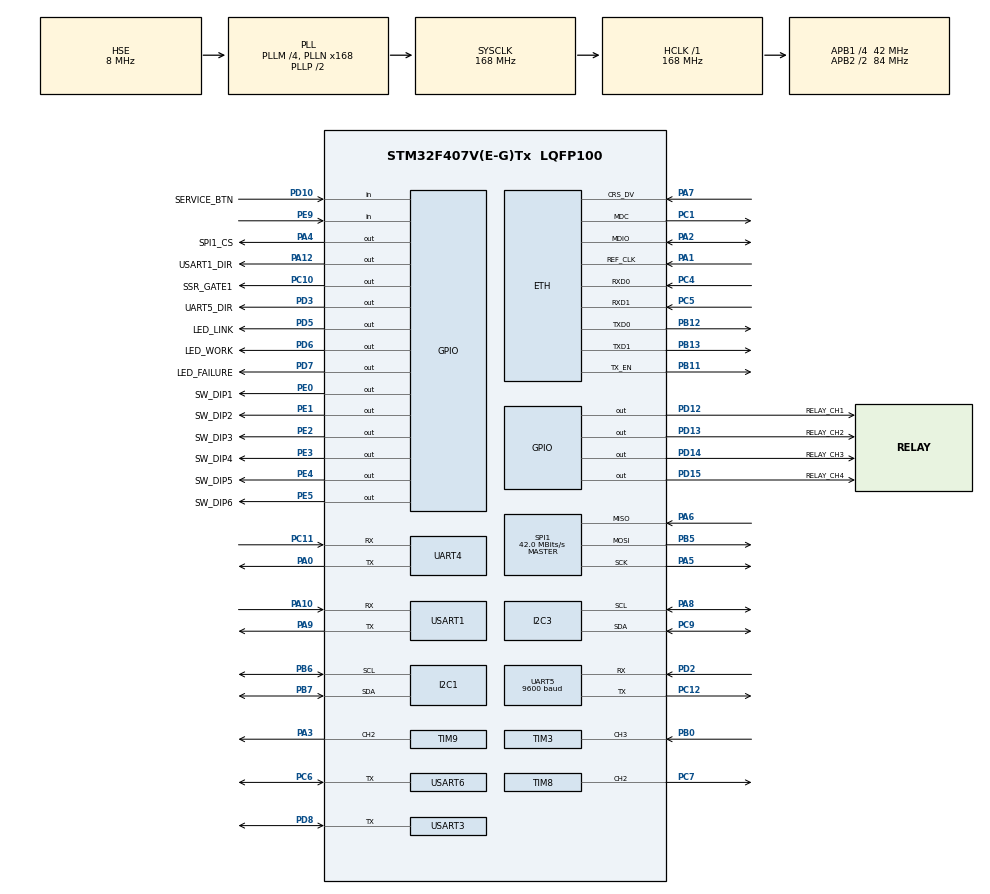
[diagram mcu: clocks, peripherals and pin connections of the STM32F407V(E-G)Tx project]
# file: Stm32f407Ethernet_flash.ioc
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Dma.Request0=UART5_RX
Dma.Request1=UART5_TX
Dma.Request2=USART1_RX
Dma.Request3=USART1_TX
Dma.Request4=SPI1_RX
Dma.Request5=SPI1_TX
Dma.SPI1_RX.4.Direction=DMA_PERIPH_TO_MEMORY
Dma.SPI1_RX.4.FIFOMode=DMA_FIFOMODE_DISABLE
Dma.SPI1_RX.4.Instance=DMA2_Stream0
Dma.SPI1_RX.4.MemDataAlignment=DMA_MDATAALIGN_BYTE
Dma.SPI1_RX.4.MemInc=DMA_MINC_ENABLE
Dma.SPI1_RX.4.Mode=DMA_NORMAL
Dma.SPI1_RX.4.PeriphDataAlignment=DMA_PDATAALIGN_BYTE
Dma.SPI1_RX.4.PeriphInc=DMA_PINC_DISABLE
Dma.SPI1_RX.4.Priority=DMA_PRIORITY_LOW
Dma.SPI1_TX.5.Direction=DMA_MEMORY_TO_PERIPH
Dma.SPI1_TX.5.FIFOMode=DMA_FIFOMODE_DISABLE
Dma.SPI1_TX.5.Instance=DMA2_Stream3
Dma.SPI1_TX.5.MemDataAlignment=DMA_MDATAALIGN_BYTE
Dma.SPI1_TX.5.MemInc=DMA_MINC_ENABLE
Dma.SPI1_TX.5.Mode=DMA_NORMAL
Dma.SPI1_TX.5.PeriphDataAlignment=DMA_PDATAALIGN_BYTE
Dma.SPI1_TX.5.PeriphInc=DMA_PINC_DISABLE
Dma.SPI1_TX.5.Priority=DMA_PRIORITY_LOW
Dma.UART5_RX.0.Direction=DMA_PERIPH_TO_MEMORY
Dma.UART5_RX.0.FIFOMode=DMA_FIFOMODE_DISABLE
Dma.UART5_RX.0.Instance=DMA1_Stream0
Dma.UART5_RX.0.MemDataAlignment=DMA_MDATAALIGN_BYTE
Dma.UART5_RX.0.MemInc=DMA_MINC_ENABLE
Dma.UART5_RX.0.Mode=DMA_NORMAL
Dma.UART5_RX.0.PeriphDataAlignment=DMA_PDATAALIGN_BYTE
Dma.UART5_RX.0.PeriphInc=DMA_PINC_DISABLE
Dma.UART5_RX.0.Priority=DMA_PRIORITY_LOW
Dma.UART5_TX.1.Direction=DMA_MEMORY_TO_PERIPH
Dma.UART5_TX.1.FIFOMode=DMA_FIFOMODE_DISABLE
Dma.UART5_TX.1.Instance=DMA1_Stream7
Dma.UART5_TX.1.MemDataAlignment=DMA_MDATAALIGN_BYTE
Dma.UART5_TX.1.MemInc=DMA_MINC_ENABLE
Dma.UART5_TX.1.Mode=DMA_NORMAL
Dma.UART5_TX.1.PeriphDataAlignment=DMA_PDATAALIGN_BYTE
Dma.UART5_TX.1.PeriphInc=DMA_PINC_DISABLE
Dma.UART5_TX.1.Priority=DMA_PRIORITY_LOW
Dma.USART1_RX.2.Direction=DMA_PERIPH_TO_MEMORY
Dma.USART1_RX.2.FIFOMode=DMA_FIFOMODE_DISABLE
Dma.USART1_RX.2.Instance=DMA2_Stream2
Dma.USART1_RX.2.MemDataAlignment=DMA_MDATAALIGN_BYTE
Dma.USART1_RX.2.MemInc=DMA_MINC_ENABLE
Dma.USART1_RX.2.Mode=DMA_NORMAL
Dma.USART1_RX.2.PeriphDataAlignment=DMA_PDATAALIGN_BYTE
Dma.USART1_RX.2.PeriphInc=DMA_PINC_DISABLE
Dma.USART1_RX.2.Priority=DMA_PRIORITY_LOW
Dma.USART1_TX.3.Direction=DMA_MEMORY_TO_PERIPH
Dma.USART1_TX.3.FIFOMode=DMA_FIFOMODE_DISABLE
Dma.USART1_TX.3.Instance=DMA2_Stream7
Dma.USART1_TX.3.MemDataAlignment=DMA_MDATAALIGN_BYTE
Dma.USART1_TX.3.MemInc=DMA_MINC_ENABLE
Dma.USART1_TX.3.Mode=DMA_NORMAL
Dma.USART1_TX.3.PeriphDataAlignment=DMA_PDATAALIGN_BYTE
Dma.USART1_TX.3.PeriphInc=DMA_PINC_DISABLE
Dma.USART1_TX.3.Priority=DMA_PRIORITY_LOW
ETH.MediaInterface=ETH_MEDIA_INTERFACE_RMII
ETH.PHY_Name_RMII=LAN8742A_PHY_ADDRESS
ETH.PhyAddress=1
FREERTOS.Tasks01=defaultTask,0,1024,StartDefaultTask,Default,NULL,Dynamic,NULL,NULL
FREERTOS.configMINIMAL_STACK_SIZE=1024
FREERTOS.configTOTAL_HEAP_SIZE=65535
FREERTOS.configUSE_TIMERS=1
LWIP.CMSIS_VERSION-Enabled=1
LWIP.GATEWAY_ADDRESS=192.168.088.010
LWIP.IP_ADDRESS=192.168.088.010
LWIP.LWIP_DHCP=1
LWIP.LWIP_DNS=1
LWIP.LWIP_DNS_SUPPORT_MDNS_QUERIES=1
LWIP.LWIP_HTTPD=1
LWIP.LWIP_HTTPD_CGI=1
LWIP.LWIP_IGMP=1
LWIP.LWIP_MDNS=1
LWIP.LWIP_MDNS_RESPONDER=1
LWIP.LWIP_MULTICAST_TX_OPTIONS=1
LWIP.LWIP_NETIF_EXT_STATUS_CALLBACK=1
LWIP.LWIP_NETIF_HOSTNAME=1
LWIP.LWIP_NETIF_STATUS_CALLBACK=1
LWIP.LWIP_NUM_NETIF_CLIENT_DATA=1
LWIP.MDNS_MAX_SERVICES=1
LWIP.MEM_SIZE=10*1024
LWIP.NETMASK_ADDRESS=255.255.255.000
LWIP.Version=v2.1.2_Cube
Mcu.Family=STM32F4
Mcu.Name=STM32F407V(E-G)Tx
Mcu.Package=LQFP100
NVIC.DMA1_Stream0_IRQn=true\:5\:0\:false\:false\:true\:true\:false\:true\:true
NVIC.DMA1_Stream7_IRQn=true\:5\:0\:false\:false\:true\:true\:false\:true\:true
NVIC.DMA2_Stream0_IRQn=true\:5\:0\:false\:false\:true\:true\:false\:true\:true
NVIC.DMA2_Stream2_IRQn=true\:5\:0\:false\:false\:true\:true\:false\:true\:true
NVIC.DMA2_Stream3_IRQn=true\:5\:0\:false\:false\:true\:true\:false\:true\:true
NVIC.DMA2_Stream7_IRQn=true\:5\:0\:false\:false\:true\:true\:false\:true\:true
NVIC.ETH_IRQn=true\:5\:0\:false\:false\:true\:true\:false\:true\:true
NVIC.PriorityGroup=NVIC_PRIORITYGROUP_4
NVIC.SPI1_IRQn=true\:5\:0\:false\:false\:true\:true\:true\:true\:true
NVIC.TIM1_BRK_TIM9_IRQn=true\:5\:0\:false\:false\:true\:true\:true\:true\:true
NVIC.TIM1_UP_TIM10_IRQn=true\:5\:0\:false\:false\:true\:true\:true\:true\:true
NVIC.TIM2_IRQn=true\:5\:0\:false\:false\:true\:true\:true\:true\:true
NVIC.TIM3_IRQn=true\:5\:0\:false\:false\:true\:true\:true\:true\:true
NVIC.TIM4_IRQn=true\:5\:0\:false\:false\:true\:true\:true\:true\:true
NVIC.TIM8_BRK_TIM12_IRQn=true\:5\:0\:false\:false\:true\:true\:true\:true\:true
NVIC.UART4_IRQn=true\:5\:0\:false\:false\:true\:true\:true\:true\:true
NVIC.UART5_IRQn=true\:5\:0\:false\:false\:true\:true\:true\:true\:true
NVIC.USART1_IRQn=true\:5\:0\:false\:false\:true\:true\:true\:true\:true
NVIC.USART3_IRQn=true\:5\:0\:false\:false\:true\:true\:true\:true\:true
NVIC.USART6_IRQn=true\:5\:0\:false\:false\:true\:true\:true\:true\:true
PA0-WKUP.Mode=Asynchronous
PA0-WKUP.Signal=UART4_TX
PA1.Mode=RMII
PA1.Signal=ETH_REF_CLK
PA10.Mode=Asynchronous
PA10.Signal=USART1_RX
PA12.GPIO_Label=USART1_DIR
PA12.GPIO_Speed=GPIO_SPEED_FREQ_VERY_HIGH
PA12.Signal=GPIO_Output
PA13.Mode=Trace_Asynchronous_SW
PA13.Signal=SYS_JTMS-SWDIO
PA14.Mode=Trace_Asynchronous_SW
PA14.Signal=SYS_JTCK-SWCLK
PA2.Mode=RMII
PA2.Signal=ETH_MDIO
PA3.Signal=S_TIM9_CH2
PA4.GPIO_Label=SPI1_CS
PA4.GPIO_Speed=GPIO_SPEED_FREQ_VERY_HIGH
PA4.Signal=GPIO_Output
PA5.Mode=Full_Duplex_Master
PA5.Signal=SPI1_SCK
PA6.Mode=Full_Duplex_Master
PA6.Signal=SPI1_MISO
PA7.Mode=RMII
PA7.Signal=ETH_CRS_DV
PA8.Mode=I2C
PA8.Signal=I2C3_SCL
PA9.Mode=Asynchronous
PA9.Signal=USART1_TX
PB0.GPIO_PuPd=GPIO_PULLUP
PB0.Signal=S_TIM3_CH3
PB11.Mode=RMII
PB11.Signal=ETH_TX_EN
PB12.Mode=RMII
PB12.Signal=ETH_TXD0
PB13.Mode=RMII
PB13.Signal=ETH_TXD1
PB3.Mode=Trace_Asynchronous_SW
PB3.Signal=SYS_JTDO-SWO
PB5.Mode=Full_Duplex_Master
PB5.Signal=SPI1_MOSI
PB6.Mode=I2C
PB6.Signal=I2C1_SCL
PB7.Mode=I2C
PB7.Signal=I2C1_SDA
PC1.Mode=RMII
PC1.Signal=ETH_MDC
PC10.GPIO_Label=SSR_GATE1
PC10.Signal=GPIO_Output
PC11.Mode=Asynchronous
PC11.Signal=UART4_RX
PC12.Mode=Asynchronous
PC12.Signal=UART5_TX
PC14-OSC32_IN.Mode=LSE-External-Oscillator
PC14-OSC32_IN.Signal=RCC_OSC32_IN
PC15-OSC32_OUT.Mode=LSE-External-Oscillator
PC15-OSC32_OUT.Signal=RCC_OSC32_OUT
PC4.Mode=RMII
PC4.Signal=ETH_RXD0
PC5.Mode=RMII
PC5.Signal=ETH_RXD1
PC6.Mode=Half_duplex(single_wire_mode)
PC6.Signal=USART6_TX
PC7.Signal=S_TIM8_CH2
PC9.Mode=I2C
PC9.Signal=I2C3_SDA
PD10.GPIO_Label=SERVICE_BTN
PD10.GPIO_PuPd=GPIO_PULLUP
PD10.Signal=GPIO_Input
PD12.GPIO_Label=RELAY_CH1
PD12.Signal=GPIO_Output
PD13.GPIO_Label=RELAY_CH2
PD13.Signal=GPIO_Output
PD14.GPIO_Label=RELAY_CH3
PD14.Signal=GPIO_Output
PD15.GPIO_Label=RELAY_CH4
PD15.Signal=GPIO_Output
PD2.Mode=Asynchronous
PD2.Signal=UART5_RX
PD3.GPIO_Label=UART5_DIR
PD3.GPIO_Speed=GPIO_SPEED_FREQ_VERY_HIGH
PD3.Signal=GPIO_Output
PD5.GPIO_Label=LED_LINK
PD5.Signal=GPIO_Output
PD6.GPIO_Label=LED_WORK
PD6.Signal=GPIO_Output
PD7.GPIO_Label=LED_FAILURE
PD7.Signal=GPIO_Output
PD8.Mode=Half_duplex(single_wire_mode)
PD8.Signal=USART3_TX
PE0.GPIO_Label=SW_DIP1
PE0.Signal=GPIO_Output
PE1.GPIO_Label=SW_DIP2
PE1.Signal=GPIO_Output
PE2.GPIO_Label=SW_DIP3
PE2.Signal=GPIO_Output
PE3.GPIO_Label=SW_DIP4
PE3.Signal=GPIO_Output
PE4.GPIO_Label=SW_DIP5
PE4.Signal=GPIO_Output
PE5.GPIO_Label=SW_DIP6
PE5.Signal=GPIO_Output
PE9.Signal=GPIO_Input
PH0-OSC_IN.Mode=HSE-External-Oscillator
PH0-OSC_IN.Signal=RCC_OSC_IN
PH1-OSC_OUT.Mode=HSE-External-Oscillator
PH1-OSC_OUT.Signal=RCC_OSC_OUT
ProjectManager.HeapSize=0x200
ProjectManager.StackSize=0x2000
ProjectManager.TargetToolchain=STM32CubeIDE
RCC.48MHZClocksFreq_Value=84000000
RCC.AHBFreq_Value=168000000
RCC.APB1CLKDivider=RCC_HCLK_DIV4
RCC.APB1Freq_Value=42000000
RCC.APB1TimFreq_Value=84000000
RCC.APB2CLKDivider=RCC_HCLK_DIV2
RCC.APB2Freq_Value=84000000
RCC.APB2TimFreq_Value=168000000
RCC.CortexFreq_Value=168000000
RCC.HCLKFreq_Value=168000000
RCC.HSE_VALUE=8000000
RCC.HSI_VALUE=16000000
RCC.PLLM=4
RCC.PLLN=168
RCC.PLLSourceVirtual=RCC_PLLSOURCE_HSE
RCC.SYSCLKFreq_VALUE=168000000
RCC.SYSCLKSource=RCC_SYSCLKSOURCE_PLLCLK
RCC.VCOOutputFreq_Value=336000000
SH.S_TIM3_CH3.0=TIM3_CH3,Input_Capture3_from_TI3
SH.S_TIM8_CH2.0=TIM8_CH2,PWM Generation2 CH2
SH.S_TIM9_CH2.0=TIM9_CH2,PWM Generation2 CH2
SPI1.CalculateBaudRate=42.0 MBits/s
SPI1.Direction=SPI_DIRECTION_2LINES
SPI1.Mode=SPI_MODE_MASTER
SPI1.VirtualType=VM_MASTER
TIM1.Period=20000-1
TIM1.Prescaler=42000-1
TIM12.Period=10000
TIM12.Prescaler=1000
TIM2.Period=30000-1
TIM2.Prescaler=8400-1
TIM3.Channel-Input_Capture3_from_TI3=TIM_CHANNEL_3
TIM3.Channel-Input_Capture4_from_TI3_63=TIM_CHANNEL_4
TIM3.ICPolarity_CH4=TIM_INPUTCHANNELPOLARITY_FALLING
TIM3.Period=50000-1
TIM3.Prescaler=8400-1
TIM4.Period=65535
TIM4.Prescaler=65535
TIM8.Channel-PWM\ Generation2\ CH2=TIM_CHANNEL_2
TIM8.Period=56000-1
TIM8.Prescaler=3-1
TIM9.Channel-PWM\ Generation2\ CH2=TIM_CHANNEL_2
TIM9.Period=56000-1
TIM9.Prescaler=3000-1
UART4.VirtualMode=Asynchronous
UART5.BaudRate=9600
UART5.VirtualMode=Asynchronous
USART1.VirtualMode=VM_ASYNC
USART3.VirtualMode=VM_ASYNC
USART6.VirtualMode=VM_ASYNC
VP_FREERTOS_VS_CMSIS_V1.Mode=CMSIS_V1
VP_LWIP_VS_Enabled.Mode=Enabled
VP_TIM12_VS_ClockSourceINT.Mode=Internal
VP_TIM1_VS_ClockSourceINT.Mode=Internal
VP_TIM2_VS_ClockSourceINT.Mode=Internal
VP_TIM3_VS_indirect_ch3.Mode=Input_Capture4_from_TI3_63
VP_TIM4_VS_ClockSourceINT.Mode=Internal
board=custom

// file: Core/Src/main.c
/* USER CODE BEGIN Header */
/**
 ******************************************************************************
 * @file           : main.c
 * @brief          : Main program body
 ******************************************************************************
 * @attention
 *
 * Copyright (c) 2023 STMicroelectronics.
 * All rights reserved.
 *
 * This software is licensed under terms that can be found in the LICENSE file
 * in the root directory of this software component.
 * If no LICENSE file comes with this software, it is provided AS-IS.
 *
 ******************************************************************************
 */
/* USER CODE END Header */
#include "main.h"
#include "cmsis_os.h"
#include "dma.h"
#include "i2c.h"
#include "lwip.h"
#include "spi.h"
#include "tim.h"
#include "usart.h"
#include "gpio.h"

/* USER CODE BEGIN Includes */
#include "stdio.h"
#include <string.h>
#include "sht.h"
#include "storage.h"
#include "sensor.h"
#include "XGZP6897D.h"
#include "fan.h"
#include "ten.h"
#include "led_button_control.h"
#include "modes.h"
#include "modbus_config.h"
#include "onewire.h"
#include "smart_mode_external.h"
#include "bootloader.h"
#include "w25qxx.h"
/* USER CODE END Includes */

void SystemClock_Config(void);
void MX_FREERTOS_Init(void);

/* USER CODE BEGIN 0 */
uint32_t falling;

int _write(int file, char *ptr, int len)
{
  int DataIdx;

  for (DataIdx = 0; DataIdx < len; DataIdx++)
  {
    ITM_SendChar(*ptr++);
  }
  return len;
}

void HAL_UARTEx_RxEventCallback(UART_HandleTypeDef *huart, uint16_t Size)
{
    if(huart == &huart5)
    	modbus_rx_handler();
}

void HAL_UART_RxCpltCallback(UART_HandleTypeDef *huart)
{
    if(huart == &huart3)
    	ds_rx_handler();
    if(huart == &huart6)
    	ds_rx_handler();
}

void HAL_UART_TxCpltCallback(UART_HandleTypeDef *huart)
{
    if(huart == &huart5)
    	modbus_tx_handler();
    if(huart == &huart3)
    	ds_tx_handler();
    if(huart == &huart6)
    	ds_tx_handler();
}

void HAL_TIM_PeriodElapsedCallback(TIM_HandleTypeDef *htim)
{
  if (htim->Instance == TIM1) // check if the interrupt comes from TIM1
  {
//      get_sht_data();
//      get_xgz_data();
//      get_aht_data();
  }
  if (htim->Instance == TIM2) // check if the interrupt comes from TIM2
  {
	  ten_handler();
  }
  if (htim->Instance == TIM4) // check if the interrupt comes from TIM2
  {
	  calc_smart_speed();
  }
  if (htim->Instance == TIM12) // check if the interrupt comes from TIM12
  {
      link_callback_IP();
  }
}

void HAL_TIM_IC_CaptureCallback(TIM_HandleTypeDef *htim)
{
    if (htim->Instance == TIM3)
    {
        if(htim->Channel == HAL_TIM_ACTIVE_CHANNEL_3)
        {
//			falling = HAL_TIM_ReadCapturedValue(&htim3, TIM_CHANNEL_4); // чтение значения в регистре захвата/сравнения
//			if(falling > 0)
//				device->error_fan = false;
//			else
//				device->error_fan = true;
        }
        else if(htim->Channel == HAL_TIM_ACTIVE_CHANNEL_4) // FALLING с HIGH на LOW
        {
        	__HAL_TIM_SET_COUNTER(&htim3, 0x0000); // обнуление счётчика
        	fan_count = 0;
        }
    }
}

void HAL_GPIO_EXTI_Callback(uint16_t GPIO_Pin)
{
  if (GPIO_Pin == SERVICE_BTN_Pin)
  {
	  button_handler();
  }
}

/* USER CODE END 0 */

int main(void)
{

  /* MCU Configuration--------------------------------------------------------*/

  /* Reset of all peripherals, Initializes the Flash interface and the Systick. */
  HAL_Init();

  /* Configure the system clock */
  SystemClock_Config();

  /* Initialize all configured peripherals */
  MX_GPIO_Init();
  MX_DMA_Init();
  MX_SPI1_Init();

  if(HAL_GPIO_ReadPin(SW_DIP2_GPIO_Port, SW_DIP2_Pin) == GPIO_PIN_RESET)
  {
	  W25qxx_EraseSector(VAR_EXT_SECTOR);
	  W25qxx_EraseSector(FIRMWARE_EXT_SECTOR);
  }
  #if BOOTLOADER == 1
	  bootloader();
  #endif

  MX_UART5_Init();
  MX_USART1_UART_Init();
  MX_I2C1_Init();
  MX_TIM1_Init();
  MX_TIM12_Init();
  MX_I2C3_Init();
  MX_UART4_Init();
  MX_TIM2_Init();
  MX_TIM9_Init();
  MX_TIM3_Init();
  MX_TIM4_Init();
  MX_USART3_UART_Init();
  MX_USART6_UART_Init();
  MX_TIM8_Init();
  /* USER CODE BEGIN 2 */
  init_storage();
//  init_sht_devices();
  HAL_TIM_Base_Start_IT(&htim1);                 //таймер для вычисления показаний датчиков
  HAL_TIM_Base_Start_IT(&htim2);                 //таймер для работы П�?Д регулятора тена
  HAL_TIM_PWM_Start(&htim8, TIM_CHANNEL_2);      //шим вентилятора
  HAL_TIM_PWM_Start(&htim9, TIM_CHANNEL_2);      //шим тена
  HAL_TIM_IC_Start_IT(&htim3, TIM_CHANNEL_3);    //захват/сравнение счетчика скорости вентилятора 3 канала
  HAL_TIM_IC_Start_IT(&htim3, TIM_CHANNEL_4);    //захват/сравнение счетчика скорости вентилятора 4 канала
  HAL_TIM_Base_Start_IT(&htim12);                //таймер для работы светодиодов
  /* USER CODE END 2 */

  /* Call init function for freertos objects (in freertos.c) */
  MX_FREERTOS_Init();
  /* Start scheduler */
  osKernelStart();

  /* We should never get here as control is now taken by the scheduler */
  /* Infinite loop */
  while (1)
  {

  }
}

void SystemClock_Config(void)
{
  RCC_OscInitTypeDef RCC_OscInitStruct = {0};
  RCC_ClkInitTypeDef RCC_ClkInitStruct = {0};

  /** Configure the main internal regulator output voltage
  */
  __HAL_RCC_PWR_CLK_ENABLE();
  __HAL_PWR_VOLTAGESCALING_CONFIG(PWR_REGULATOR_VOLTAGE_SCALE1);
  /** Initializes the RCC Oscillators according to the specified parameters
  * in the RCC_OscInitTypeDef structure.
  */
  RCC_OscInitStruct.OscillatorType = RCC_OSCILLATORTYPE_HSE;
  RCC_OscInitStruct.HSEState = RCC_HSE_ON;
  RCC_OscInitStruct.PLL.PLLState = RCC_PLL_ON;
  RCC_OscInitStruct.PLL.PLLSource = RCC_PLLSOURCE_HSE;
  RCC_OscInitStruct.PLL.PLLM = 4;
  RCC_OscInitStruct.PLL.PLLN = 168;
  RCC_OscInitStruct.PLL.PLLP = RCC_PLLP_DIV2;
  RCC_OscInitStruct.PLL.PLLQ = 4;
  if (HAL_RCC_OscConfig(&RCC_OscInitStruct) != HAL_OK)
  {
    Error_Handler();
  }
  /** Initializes the CPU, AHB and APB buses clocks
  */
  RCC_ClkInitStruct.ClockType = RCC_CLOCKTYPE_HCLK|RCC_CLOCKTYPE_SYSCLK
                              |RCC_CLOCKTYPE_PCLK1|RCC_CLOCKTYPE_PCLK2;
  RCC_ClkInitStruct.SYSCLKSource = RCC_SYSCLKSOURCE_PLLCLK;
  RCC_ClkInitStruct.AHBCLKDivider = RCC_SYSCLK_DIV1;
  RCC_ClkInitStruct.APB1CLKDivider = RCC_HCLK_DIV4;
  RCC_ClkInitStruct.APB2CLKDivider = RCC_HCLK_DIV2;

  if (HAL_RCC_ClockConfig(&RCC_ClkInitStruct, FLASH_LATENCY_5) != HAL_OK)
  {
    Error_Handler();
  }
}

void Error_Handler(void)
{
  __disable_irq();
  while (1)
  {
  }
}

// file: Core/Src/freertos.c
/* USER CODE BEGIN Header */
/**
  ******************************************************************************
  * File Name          : freertos.c
  * Description        : Code for freertos applications
  ******************************************************************************
  * @attention
  *
  * Copyright (c) 2023 STMicroelectronics.
  * All rights reserved.
  *
  * This software is licensed under terms that can be found in the LICENSE file
  * in the root directory of this software component.
  * If no LICENSE file comes with this software, it is provided AS-IS.
  *
  ******************************************************************************
  */
/* USER CODE END Header */

#include "FreeRTOS.h"
#include "task.h"
#include "main.h"
#include "cmsis_os.h"

/* USER CODE BEGIN Includes */
#include "lwip.h"
#include "lwip/api.h"
#include "mqtt_client.h"
#include "httpserver.h"
#include "led_button_control.h"
#include "mqtt_message.h"
#include "fan.h"
#include "modes.h"
#include "usart.h"
#include "string.h"
#include "lwip/dns.h"
#include "lwip/apps/mdns.h"
/* USER CODE END Includes */

/* USER CODE BEGIN Variables */
extern struct netif gnetif;

osThreadId ledsTaskHandle;
osThreadId damperTaskHandle;
osThreadId mainTaskHandle;
osThreadId dsTaskHandle;
osThreadId otaTaskHandle;

bool mdns_set = false;
bool mdns_search = false;
uint8_t mdns_id = 1;
char *mdns_name;
static void srv_txt(struct mdns_service *service, void *txt_userdata)
{
	err_t res;
    LWIP_UNUSED_ARG(txt_userdata);
    DEBUG_MAIN("mdns\n");
    res = mdns_resp_add_service_txtitem(service, "path=/", 6);
    LWIP_ERROR("mdns add service txt failed\n", (res == ERR_OK), return);
}

void dns_callback(const char *name, const ip_addr_t *ipaddr, void *callback_arg)
{
	DEBUG_MAIN("dns callback\n");
    if (ipaddr != NULL)
    {
    	DEBUG_MAIN("name = %s\n", name);
    	DEBUG_MAIN("ip = %s\n", ipaddr_ntoa(ipaddr));
    	sprintf(mdns_name, "cityair350%d", mdns_id);
    	mdns_id++;
    	mdns_search = false;
    }
    else
    {
    	DEBUG_MAIN("Not found dns ip %s\n", mdns_name);
		mdns_resp_add_netif(&gnetif, mdns_name, 120);
		mdns_resp_add_service(&gnetif, mdns_name, "_http", DNSSD_PROTO_TCP, 80, 3600, srv_txt, NULL); //mdns_name
		mdns_set = true;
		mdns_search = false;
    }
}
/* USER CODE END Variables */
osThreadId defaultTaskHandle;

/* USER CODE BEGIN FunctionPrototypes */
extern void LedsTask(void const * argument);
extern void DamperTask(void const * argument);
extern void MainTask(void const * argument);
extern void DSTask(void const * argument);
extern void OtaTask(void const * argument);
/* USER CODE END FunctionPrototypes */

void StartDefaultTask(void const * argument);

extern void MX_LWIP_Init(void);
void MX_FREERTOS_Init(void); /* (MISRA C 2004 rule 8.1) */

/* GetIdleTaskMemory prototype (linked to static allocation support) */
void vApplicationGetIdleTaskMemory( StaticTask_t **ppxIdleTaskTCBBuffer, StackType_t **ppxIdleTaskStackBuffer, uint32_t *pulIdleTaskStackSize );

/* GetTimerTaskMemory prototype (linked to static allocation support) */
void vApplicationGetTimerTaskMemory( StaticTask_t **ppxTimerTaskTCBBuffer, StackType_t **ppxTimerTaskStackBuffer, uint32_t *pulTimerTaskStackSize );

/* USER CODE BEGIN GET_IDLE_TASK_MEMORY */
static StaticTask_t xIdleTaskTCBBuffer;
static StackType_t xIdleStack[configMINIMAL_STACK_SIZE];

void vApplicationGetIdleTaskMemory( StaticTask_t **ppxIdleTaskTCBBuffer, StackType_t **ppxIdleTaskStackBuffer, uint32_t *pulIdleTaskStackSize )
{
  *ppxIdleTaskTCBBuffer = &xIdleTaskTCBBuffer;
  *ppxIdleTaskStackBuffer = &xIdleStack[0];
  *pulIdleTaskStackSize = configMINIMAL_STACK_SIZE;
  /* place for user code */
}
/* USER CODE END GET_IDLE_TASK_MEMORY */

/* USER CODE BEGIN GET_TIMER_TASK_MEMORY */
static StaticTask_t xTimerTaskTCBBuffer;
static StackType_t xTimerStack[configTIMER_TASK_STACK_DEPTH];

void vApplicationGetTimerTaskMemory( StaticTask_t **ppxTimerTaskTCBBuffer, StackType_t **ppxTimerTaskStackBuffer, uint32_t *pulTimerTaskStackSize )
{
  *ppxTimerTaskTCBBuffer = &xTimerTaskTCBBuffer;
  *ppxTimerTaskStackBuffer = &xTimerStack[0];
  *pulTimerTaskStackSize = configTIMER_TASK_STACK_DEPTH;
  /* place for user code */
}
/* USER CODE END GET_TIMER_TASK_MEMORY */

void MX_FREERTOS_Init(void) {

  /* Create the thread(s) */
  /* definition and creation of defaultTask */
  osThreadDef(defaultTask, StartDefaultTask, osPriorityNormal, 0, 1024);
  defaultTaskHandle = osThreadCreate(osThread(defaultTask), NULL);

  /* USER CODE BEGIN RTOS_THREADS */
  /* add threads, ... */
  osThreadDef(mainTask, MainTask, osPriorityNormal, 0, 1024);
  mainTaskHandle = osThreadCreate(osThread(mainTask), NULL);

  osThreadDef(ledsTask, LedsTask, osPriorityNormal, 0, 256);
  ledsTaskHandle = osThreadCreate(osThread(ledsTask), NULL);

  osThreadDef(damperTask, DamperTask, osPriorityNormal, 0, 256);
  damperTaskHandle = osThreadCreate(osThread(damperTask), NULL);

  osThreadDef(dsTask, DSTask, osPriorityNormal, 0, 1024);
  dsTaskHandle = osThreadCreate(osThread(dsTask), NULL);

  osThreadDef(otaTask, OtaTask, osPriorityRealtime, 0, 3 * 1024);
  otaTaskHandle = osThreadCreate(osThread(otaTask), NULL);
  /* USER CODE END RTOS_THREADS */

}

void StartDefaultTask(void const * argument)
{
  /* init code for LWIP */
  MX_LWIP_Init();
  /* USER CODE BEGIN StartDefaultTask */
  while (dhcp_supplied_address(&gnetif) == 0)
  {
     osDelay(50);
  }
  #if DNS == 1
  mdns_name = malloc(80);
  sprintf(mdns_name, "cityair350");
  ip_addr_t addr;
  while (mdns_set == false)
  {
	  dns_gethostbyname(mdns_name, &addr, dns_callback, NULL);
	  mdns_search = true;
	  while (mdns_search == true)
	  {
		  osDelay(100);
	  }
  }
  #endif
  http_server_init();
  init_mqtt();
  device_send = *device;
  device_check = *device;
  /* Infinite loop */
  for(;;)
  {
	  start_mqtt();
	  osDelay(1000);
  }
  /* USER CODE END StartDefaultTask */
}
